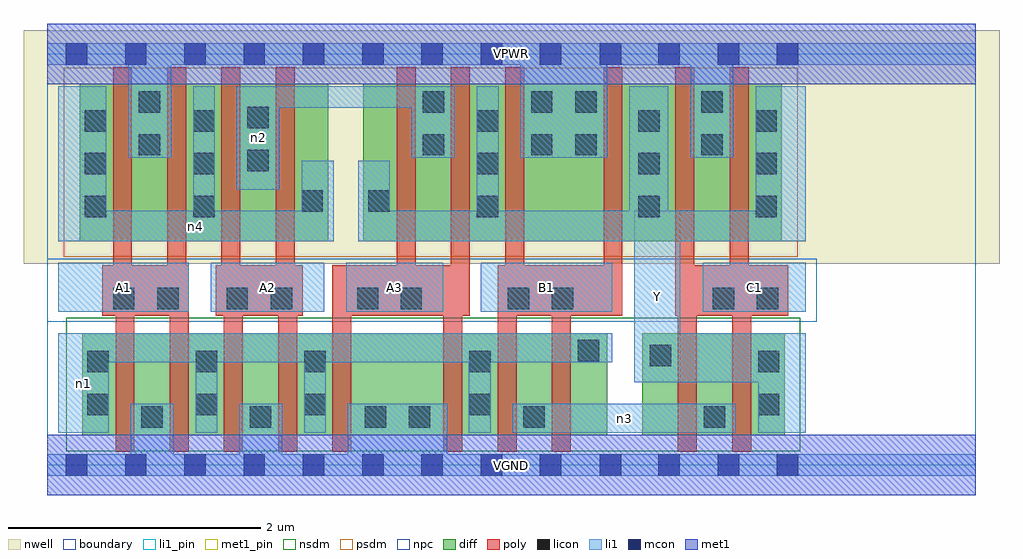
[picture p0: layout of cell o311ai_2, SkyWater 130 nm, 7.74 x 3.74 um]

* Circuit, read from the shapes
.subckt o311ai_2 A1 A2 A3 B1 C1 VGND VPWR Y n1 n2 n3 n4
XM1 VGND A1 n1 VSUBS sky130_fd_pr__nfet_01v8 w=0.81 l=0.15 m=2
XM2 VGND A2 n1 VSUBS sky130_fd_pr__nfet_01v8 w=0.81 l=0.15 m=2
XM3 VGND A3 n1 VSUBS sky130_fd_pr__nfet_01v8 w=0.81 l=0.15 m=2
XM4 n3 B1 n1 VSUBS sky130_fd_pr__nfet_01v8 w=0.81 l=0.15 m=2
XM5 n3 C1 Y VSUBS sky130_fd_pr__nfet_01v8 w=0.81 l=0.15 m=2
XM6 VPWR A1 n4 n5 sky130_fd_pr__pfet_01v8 w=1.25 l=0.15 m=2
XM7 n2 A2 n4 n5 sky130_fd_pr__pfet_01v8 w=1.25 l=0.15 m=2
XM8 n2 A3 Y n5 sky130_fd_pr__pfet_01v8 w=1.25 l=0.15 m=2
XM9 VPWR B1 Y n5 sky130_fd_pr__pfet_01v8 w=1.25 l=0.15 m=2
XM10 VPWR C1 Y n5 sky130_fd_pr__pfet_01v8 w=1.25 l=0.15 m=2
.ends

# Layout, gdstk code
import gdstk
lib = gdstk.Library(unit=1e-6, precision=1e-09)
def R(c, l, rs):  # rectangles x0, y0, x1, y1
    for r in rs: c.add(gdstk.rectangle(r[:2], r[2:], *l))
def A(c, l, x, y, w, h, nx, ny, dx, dy):  # array of equal rectangles
    R(c, l, [(x+i*dx, y+j*dy, x+i*dx+w, y+j*dy+h) for i in range(nx) for j in range(ny)])
nwell = (64, 20)
diff = (65, 20)
poly = (66, 20)
licon = (66, 44)
li1_pin = (67, 16)
li1 = (67, 20)
mcon = (67, 44)
met1_pin = (68, 16)
met1 = (68, 20)
nsdm = (93, 44)
psdm = (94, 20)
npc = (95, 20)
boundary = (235, 4)

o311ai_2 = lib.new_cell('o311ai_2')
R(o311ai_2, nwell, [(-0.19,1.595,7.55,3.45), (0,1.595,7.36,3.45)])
R(o311ai_2, diff, [(0.275,0.235,4.44,1.045), (4.715,0.235,5.845,1.045), (0.255,1.775,2.225,3.025), (2.505,1.775,5.825,3.025)])
A(o311ai_2, poly, 0.54, 0.105, 0.15, 1.48, 5, 1, 0.43, 0)
A(o311ai_2, poly, 3.14, 0.105, 0.15, 1.48, 3, 1, 0.43, 0)
A(o311ai_2, poly, 0.52, 1.185, 0.15, 1.97, 4, 1, 0.43, 0)
A(o311ai_2, poly, 2.77, 1.185, 0.15, 1.97, 3, 1, 0.43, 0)
R(o311ai_2, poly, [(3.2,0.105,3.29,3.155), (5,0.105,5.15,1.585), (5.43,0.105,5.58,1.585), (0.435,1.185,1.12,1.585), (1.335,1.185,2.025,1.585), (2.26,1.185,3.35,1.585), (3.57,1.185,4.56,1.585), (4.41,1.185,4.56,3.155), (4.98,1.185,5.13,3.155), (4.98,1.185,5.875,1.585), (5.41,1.185,5.56,3.155)])
A(o311ai_2, licon, 0.315, 0.395, 0.17, 0.17, 3, 2, 0.86, 0.34)
A(o311ai_2, licon, 0.295, 1.965, 0.17, 0.17, 1, 3, 0, 0.34)
A(o311ai_2, licon, 1.155, 1.965, 0.17, 0.17, 1, 3, 0, 0.34)
A(o311ai_2, licon, 3.405, 1.965, 0.17, 0.17, 1, 3, 0, 0.34)
A(o311ai_2, licon, 4.685, 1.965, 0.17, 0.17, 1, 3, 0, 0.34)
A(o311ai_2, licon, 5.615, 1.965, 0.17, 0.17, 1, 3, 0, 0.34)
R(o311ai_2, licon, [(0.745,0.295,0.915,0.465), (1.605,0.295,1.775,0.465), (2.515,0.295,2.685,0.465), (2.865,0.295,3.035,0.465), (3.775,0.295,3.945,0.465), (5.205,0.295,5.375,0.465), (3.345,0.395,3.515,0.565), (5.635,0.395,5.805,0.565), (3.345,0.735,3.515,0.905), (5.635,0.735,5.805,0.905), (4.775,0.785,4.945,0.955), (4.205,0.825,4.375,0.995), (0.52,1.235,0.69,1.405), (0.87,1.235,1.04,1.405), (1.42,1.235,1.59,1.405), (1.77,1.235,1.94,1.405), (2.455,1.235,2.625,1.405), (2.8,1.235,2.97,1.405), (3.65,1.235,3.82,1.405), (4,1.235,4.17,1.405), (5.275,1.235,5.445,1.405), (5.625,1.235,5.795,1.405), (2.015,2.01,2.185,2.18), (2.545,2.01,2.715,2.18), (1.585,2.33,1.755,2.5), (0.725,2.455,0.895,2.625), (2.975,2.455,3.145,2.625), (3.835,2.455,4.005,2.625), (4.185,2.455,4.355,2.625), (5.185,2.455,5.355,2.625), (1.585,2.67,1.755,2.84), (0.725,2.795,0.895,2.965), (2.975,2.795,3.145,2.965), (3.835,2.795,4.005,2.965), (4.185,2.795,4.355,2.965), (5.185,2.795,5.355,2.965)])
R(o311ai_2, li1_pin, [(4.655,0.655,5.02,2.015), (0.085,1.215,1.12,1.605), (1.295,1.215,2.195,1.605), (2.37,1.215,3.14,1.605), (3.435,1.215,4.48,1.605), (5.195,1.215,6.015,1.605)])
R(o311ai_2, li1, [(0,-0.085,7.36,0.085), (0.66,-0.085,1,0.485), (1.52,-0.085,1.86,0.485), (2.38,-0.085,3.17,0.485), (0.085,0.255,0.485,1.045), (1.175,0.255,1.345,1.045), (2.035,0.255,2.205,1.045), (3.34,0.255,3.515,1.045), (3.69,0.255,5.46,0.485), (5.635,0.255,6.015,1.045), (4.655,0.655,6.015,1.045), (4.655,0.655,5.02,2.015), (0.085,0.815,4.48,1.045), (0.085,1.215,1.12,1.605), (1.295,1.215,2.195,1.605), (2.37,1.215,3.14,1.605), (3.435,1.215,4.48,1.605), (5.195,1.215,6.015,1.605), (0.085,1.775,2.27,2.015), (0.085,1.775,0.465,3.005), (1.155,1.775,1.325,3.005), (2.015,1.775,2.27,2.415), (2.465,1.775,6.015,2.015), (2.465,1.775,2.715,2.415), (3.405,1.775,3.58,3.005), (4.615,1.775,4.925,3.005), (5.615,1.775,6.015,3.005), (1.5,2.185,1.84,3.005), (0.64,2.435,0.98,3.345), (2.89,2.435,3.23,3.005), (3.75,2.435,4.44,3.345), (5.1,2.435,5.44,3.345), (1.5,2.835,3.23,3.005), (0,3.175,7.36,3.345)])
A(o311ai_2, mcon, 0.145, -0.085, 0.17, 0.17, 9, 2, 0.47, 3.26)
A(o311ai_2, mcon, 4.845, -0.085, 0.17, 0.17, 3, 2, 0.47, 3.26)
R(o311ai_2, mcon, [(4.38,-0.085,4.55,0.085), (4.38,3.175,4.55,3.345)])
R(o311ai_2, met1_pin, [(0,-0.24,7.36,0.24), (0,3.02,7.36,3.5)])
R(o311ai_2, met1, [(0,-0.24,7.36,0.24), (0,3.02,7.36,3.5)])
R(o311ai_2, nsdm, [(0.15,0.11,5.97,1.17)])
R(o311ai_2, psdm, [(0.13,1.65,5.95,3.15)])
R(o311ai_2, npc, [(0,1.135,6.1,1.635)])
R(o311ai_2, boundary, [(0,0,7.36,3.26)])
o311ai_2.add(gdstk.Label('A1', (0.602,1.41), layer=67, texttype=5))
o311ai_2.add(gdstk.Label('A2', (1.745,1.41), layer=67, texttype=5))
o311ai_2.add(gdstk.Label('A3', (2.755,1.41), layer=67, texttype=5))
o311ai_2.add(gdstk.Label('B1', (3.957,1.41), layer=67, texttype=5))
o311ai_2.add(gdstk.Label('C1', (5.605,1.41), layer=67, texttype=5))
o311ai_2.add(gdstk.Label('Y', (4.837,1.335), layer=67, texttype=5))
o311ai_2.add(gdstk.Label('n3', (4.575,0.37), layer=67, texttype=5))
o311ai_2.add(gdstk.Label('n1', (0.285,0.65), layer=67, texttype=5))
o311ai_2.add(gdstk.Label('n4', (1.177,1.895), layer=67, texttype=5))
o311ai_2.add(gdstk.Label('n2', (1.67,2.595), layer=67, texttype=5))
o311ai_2.add(gdstk.Label('VPWR', (3.68,3.26), layer=68, texttype=5))
o311ai_2.add(gdstk.Label('VGND', (3.68,0), layer=68, texttype=5))
o311ai_2.add(gdstk.Label('A1', (0.602,1.41), layer=67, texttype=16))
o311ai_2.add(gdstk.Label('A2', (1.745,1.41), layer=67, texttype=16))
o311ai_2.add(gdstk.Label('A3', (2.755,1.41), layer=67, texttype=16))
o311ai_2.add(gdstk.Label('B1', (3.957,1.41), layer=67, texttype=16))
o311ai_2.add(gdstk.Label('C1', (5.605,1.41), layer=67, texttype=16))
o311ai_2.add(gdstk.Label('Y', (4.837,1.335), layer=67, texttype=16))
o311ai_2.add(gdstk.Label('VPWR', (3.68,3.26), layer=68, texttype=16))
o311ai_2.add(gdstk.Label('VGND', (3.68,0), layer=68, texttype=16))

lib.write_gds('o311ai_2.gds')
